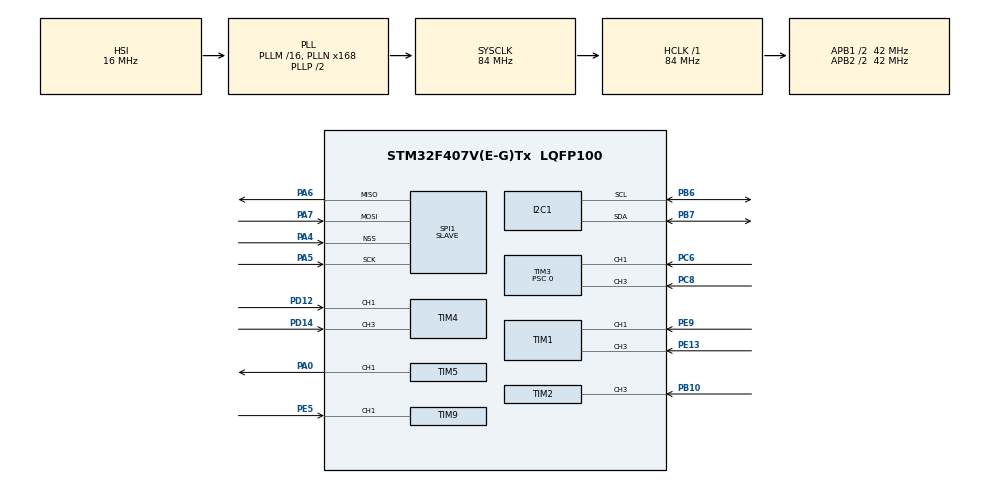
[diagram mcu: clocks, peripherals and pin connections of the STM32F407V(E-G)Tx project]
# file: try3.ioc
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Mcu.Family=STM32F4
Mcu.Name=STM32F407V(E-G)Tx
Mcu.Package=LQFP100
NVIC.PriorityGroup=NVIC_PRIORITYGROUP_4
NVIC.SPI1_IRQn=true\:0\:0\:false\:false\:true\:true\:true\:true
NVIC.TIM1_BRK_TIM9_IRQn=true\:1\:0\:true\:false\:true\:true\:true\:true
NVIC.TIM1_CC_IRQn=true\:0\:0\:false\:false\:true\:true\:true\:true
NVIC.TIM2_IRQn=true\:1\:0\:true\:false\:true\:true\:true\:true
NVIC.TIM3_IRQn=true\:1\:0\:true\:false\:true\:true\:true\:true
NVIC.TIM4_IRQn=true\:1\:0\:true\:false\:true\:true\:true\:true
PA0-WKUP.Signal=S_TIM5_CH1
PA13.Mode=Serial_Wire
PA13.Signal=SYS_JTMS-SWDIO
PA14.Mode=Serial_Wire
PA14.Signal=SYS_JTCK-SWCLK
PA4.Mode=NSS_Signal_Hard_Input
PA4.Signal=SPI1_NSS
PA5.Mode=Full_Duplex_Slave
PA5.Signal=SPI1_SCK
PA6.Mode=Full_Duplex_Slave
PA6.Signal=SPI1_MISO
PA7.Mode=Full_Duplex_Slave
PA7.Signal=SPI1_MOSI
PB10.Signal=S_TIM2_CH3
PB6.Mode=I2C
PB6.Signal=I2C1_SCL
PB7.Mode=I2C
PB7.Signal=I2C1_SDA
PC6.Signal=S_TIM3_CH1
PC8.Signal=S_TIM3_CH3
PD12.Signal=S_TIM4_CH1
PD14.Signal=S_TIM4_CH3
PE13.Signal=S_TIM1_CH3
PE5.Signal=S_TIM9_CH1
PE9.Signal=S_TIM1_CH1
ProjectManager.HeapSize=0x200
ProjectManager.StackSize=0x400
ProjectManager.TargetToolchain=STM32CubeIDE
RCC.48MHZClocksFreq_Value=42000000
RCC.AHBFreq_Value=84000000
RCC.APB1CLKDivider=RCC_HCLK_DIV2
RCC.APB1Freq_Value=42000000
RCC.APB1TimFreq_Value=84000000
RCC.APB2CLKDivider=RCC_HCLK_DIV2
RCC.APB2Freq_Value=42000000
RCC.APB2TimFreq_Value=84000000
RCC.CortexFreq_Value=84000000
RCC.HCLKFreq_Value=84000000
RCC.HSE_VALUE=25000000
RCC.HSI_VALUE=16000000
RCC.LSE_VALUE=32768
RCC.PLLN=168
RCC.SYSCLKFreq_VALUE=84000000
RCC.SYSCLKSource=RCC_SYSCLKSOURCE_PLLCLK
RCC.VCOOutputFreq_Value=168000000
SH.S_TIM1_CH1.0=TIM1_CH1,Input_Capture1_from_TI1
SH.S_TIM1_CH3.0=TIM1_CH3,Input_Capture3_from_TI3
SH.S_TIM2_CH3.0=TIM2_CH3,Input_Capture3_from_TI3
SH.S_TIM3_CH1.0=TIM3_CH1,Input_Capture1_from_TI1
SH.S_TIM3_CH3.0=TIM3_CH3,Input_Capture3_from_TI3
SH.S_TIM4_CH1.0=TIM4_CH1,Input_Capture1_from_TI1
SH.S_TIM4_CH3.0=TIM4_CH3,Input_Capture3_from_TI3
SH.S_TIM5_CH1.0=TIM5_CH1,PWM Generation1 CH1
SH.S_TIM9_CH1.0=TIM9_CH1,Input_Capture1_from_TI1
SPI1.CRCCalculation=SPI_CRCCALCULATION_DISABLE
SPI1.Direction=SPI_DIRECTION_2LINES
SPI1.Mode=SPI_MODE_SLAVE
SPI1.VirtualNSS=VM_NSSHARD
SPI1.VirtualType=VM_SLAVE
TIM1.Channel-Input_Capture1_from_TI1=TIM_CHANNEL_1
TIM1.Channel-Input_Capture2_from_TI1_63=TIM_CHANNEL_2
TIM1.Channel-Input_Capture3_from_TI3=TIM_CHANNEL_3
TIM1.Channel-Input_Capture4_from_TI3_63=TIM_CHANNEL_4
TIM1.ICPolarity_CH4=TIM_INPUTCHANNELPOLARITY_FALLING
TIM2.Channel-Input_Capture3_from_TI3=TIM_CHANNEL_3
TIM2.Channel-Input_Capture4_from_TI3_63=TIM_CHANNEL_4
TIM2.ICPolarity_CH4=TIM_INPUTCHANNELPOLARITY_FALLING
TIM2.Period=65535
TIM3.Channel-Input_Capture1_from_TI1=TIM_CHANNEL_1
TIM3.Channel-Input_Capture2_from_TI1_63=TIM_CHANNEL_2
TIM3.Channel-Input_Capture3_from_TI3=TIM_CHANNEL_3
TIM3.Channel-Input_Capture4_from_TI3_63=TIM_CHANNEL_4
TIM3.ICPolarity_CH1=TIM_INPUTCHANNELPOLARITY_RISING
TIM3.ICPolarity_CH2=TIM_INPUTCHANNELPOLARITY_FALLING
TIM3.ICPolarity_CH4=TIM_INPUTCHANNELPOLARITY_FALLING
TIM3.Period=65535
TIM3.Prescaler=0
TIM4.Channel-Input_Capture1_from_TI1=TIM_CHANNEL_1
TIM4.Channel-Input_Capture2_from_TI1_63=TIM_CHANNEL_2
TIM4.Channel-Input_Capture3_from_TI3=TIM_CHANNEL_3
TIM4.Channel-Input_Capture4_from_TI3_63=TIM_CHANNEL_4
TIM4.ICPolarity_CH2=TIM_INPUTCHANNELPOLARITY_FALLING
TIM4.ICPolarity_CH4=TIM_INPUTCHANNELPOLARITY_FALLING
TIM5.Channel-PWM\ Generation1\ CH1=TIM_CHANNEL_1
TIM5.Period=999
TIM5.Prescaler=49
TIM5.Pulse-PWM\ Generation1\ CH1=500
TIM9.Channel-Input_Capture1_from_TI1=TIM_CHANNEL_1
TIM9.Channel-Input_Capture2_from_TI1_63=TIM_CHANNEL_2
TIM9.ICPolarity_CH2=TIM_INPUTCHANNELPOLARITY_FALLING
VP_TIM1_VS_indirect_ch1.Mode=Input_Capture2_from_TI1_63
VP_TIM1_VS_indirect_ch3.Mode=Input_Capture4_from_TI3_63
VP_TIM2_VS_indirect_ch3.Mode=Input_Capture4_from_TI3_63
VP_TIM3_VS_indirect_ch1.Mode=Input_Capture2_from_TI1_63
VP_TIM3_VS_indirect_ch3.Mode=Input_Capture4_from_TI3_63
VP_TIM4_VS_indirect_ch1.Mode=Input_Capture2_from_TI1_63
VP_TIM4_VS_indirect_ch3.Mode=Input_Capture4_from_TI3_63
VP_TIM9_VS_indirect_ch1.Mode=Input_Capture2_from_TI1_63
board=custom

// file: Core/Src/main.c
/* USER CODE BEGIN Header */
/**
  ******************************************************************************
  * @file           : main.c
  * @brief          : Main program body
  ******************************************************************************
  * @attention
  *
  * Copyright (c) 2025 STMicroelectronics.
  * All rights reserved.
  *
  * This software is licensed under terms that can be found in the LICENSE file
  * in the root directory of this software component.
  * If no LICENSE file comes with this software, it is provided AS-IS.
  *
  ******************************************************************************
  */
/* USER CODE END Header */
#include "main.h"

/* USER CODE BEGIN Includes */
#include "i2c_lcd.h"
#include <stdio.h>
#include <stdint.h>
/* USER CODE END Includes */

I2C_HandleTypeDef hi2c1;

SPI_HandleTypeDef hspi1;

TIM_HandleTypeDef htim1;
TIM_HandleTypeDef htim2;
TIM_HandleTypeDef htim3;
TIM_HandleTypeDef htim4;
TIM_HandleTypeDef htim5;
TIM_HandleTypeDef htim9;

/* USER CODE BEGIN PV */
I2C_LCD_HandleTypeDef lcd1;
volatile uint8_t cur_channel = 0;
volatile uint8_t main_channel = 1;
PWM_Meas_Channel_t pwm_channels[NUM_PWM_CHANNELS] = {
		{
				.htim = &htim1,
				.tim_instance = TIM1,
				.ic_channel_rising = TIM_CHANNEL_1,
				.ic_channel_falling = TIM_CHANNEL_2,
				.ic_channel_rising_active = HAL_TIM_ACTIVE_CHANNEL_1,
				.ic_channel_falling_active = HAL_TIM_ACTIVE_CHANNEL_2,
				.overflow_counter = 0,
				.last_rising_edge_ticks = 0,
				.period_total_ticks = 0,
				.duty_cycle_total_ticks = 0,
				.capture_state = 0
		},
		{
				.htim = &htim1,
				.tim_instance = TIM1,
				.ic_channel_rising = TIM_CHANNEL_3,
				.ic_channel_falling = TIM_CHANNEL_4,
				.ic_channel_rising_active = HAL_TIM_ACTIVE_CHANNEL_3,
				.ic_channel_falling_active = HAL_TIM_ACTIVE_CHANNEL_4,
				.overflow_counter = 0,
				.last_rising_edge_ticks = 0,
				.period_total_ticks = 0,
				.duty_cycle_total_ticks = 0,
				.capture_state = 0
		},
		{
				.htim = &htim2,
				.tim_instance = TIM2,
				.ic_channel_rising = TIM_CHANNEL_3,
				.ic_channel_falling = TIM_CHANNEL_4,
				.ic_channel_rising_active = HAL_TIM_ACTIVE_CHANNEL_3,
				.ic_channel_falling_active = HAL_TIM_ACTIVE_CHANNEL_4,
				.overflow_counter = 0,
				.last_rising_edge_ticks = 0,
				.period_total_ticks = 0,
				.duty_cycle_total_ticks = 0,
				.capture_state = 0
		},
		{
				.htim = &htim3,
				.tim_instance = TIM3,
				.ic_channel_rising = TIM_CHANNEL_1,
				.ic_channel_falling = TIM_CHANNEL_2,
				.ic_channel_rising_active = HAL_TIM_ACTIVE_CHANNEL_1,
				.ic_channel_falling_active = HAL_TIM_ACTIVE_CHANNEL_2,
				.overflow_counter = 0,
				.last_rising_edge_ticks = 0,
				.period_total_ticks = 0,
				.duty_cycle_total_ticks = 0,
				.capture_state = 0
		},
		{
				.htim = &htim3,
				.tim_instance = TIM3,
				.ic_channel_rising = TIM_CHANNEL_3,
				.ic_channel_falling = TIM_CHANNEL_4,
				.ic_channel_rising_active = HAL_TIM_ACTIVE_CHANNEL_3,
				.ic_channel_falling_active = HAL_TIM_ACTIVE_CHANNEL_4,
				.overflow_counter = 0,
				.last_rising_edge_ticks = 0,
				.period_total_ticks = 0,
				.duty_cycle_total_ticks = 0,
				.capture_state = 0
		},
		{
				.htim = &htim4,
				.tim_instance = TIM4,
				.ic_channel_rising = TIM_CHANNEL_1,
				.ic_channel_falling = TIM_CHANNEL_2,
				.ic_channel_rising_active = HAL_TIM_ACTIVE_CHANNEL_1,
				.ic_channel_falling_active = HAL_TIM_ACTIVE_CHANNEL_2,
				.overflow_counter = 0,
				.last_rising_edge_ticks = 0,
				.period_total_ticks = 0,
				.duty_cycle_total_ticks = 0,
				.capture_state = 0
		},
		{
				.htim = &htim4,
				.tim_instance = TIM4,
				.ic_channel_rising = TIM_CHANNEL_3,
				.ic_channel_falling = TIM_CHANNEL_4,
				.ic_channel_rising_active = HAL_TIM_ACTIVE_CHANNEL_3,
				.ic_channel_falling_active = HAL_TIM_ACTIVE_CHANNEL_4,
				.overflow_counter = 0,
				.last_rising_edge_ticks = 0,
				.period_total_ticks = 0,
				.duty_cycle_total_ticks = 0,
				.capture_state = 0
		},
		{
				.htim = &htim9,
				.tim_instance = TIM9,
				.ic_channel_rising = TIM_CHANNEL_1,
				.ic_channel_falling = TIM_CHANNEL_2,
				.ic_channel_rising_active = HAL_TIM_ACTIVE_CHANNEL_1,
				.ic_channel_falling_active = HAL_TIM_ACTIVE_CHANNEL_2,
				.overflow_counter = 0,
				.last_rising_edge_ticks = 0,
				.period_total_ticks = 0,
				.duty_cycle_total_ticks = 0,
				.capture_state = 0
		},
};

// SPI
uint8_t slave_all_data[40];
uint8_t slave_rx_buffer[6];
uint8_t slave_tx_buffer[6];
volatile uint8_t spi_transfer_complete = 0;

/* USER CODE END PV */

void SystemClock_Config(void);
static void MX_GPIO_Init(void);
static void MX_TIM3_Init(void);
static void MX_TIM1_Init(void);
static void MX_TIM2_Init(void);
static void MX_TIM4_Init(void);
static void MX_TIM5_Init(void);
static void MX_TIM9_Init(void);
static void MX_I2C1_Init(void);
static void MX_SPI1_Init(void);

/* USER CODE BEGIN 0 */
uint32_t getPeriodSeconds(uint8_t channel_idx) {
    if (channel_idx >= NUM_PWM_CHANNELS) {
        return 0.0f;
    }
    uint64_t all_periods = 0;
    uint8_t count = 0;
    for (int i = 0; i < NUM_PWM_CHANNELS; i++){
    	uint64_t current_period = pwm_channels[channel_idx].period_total_ticks[i];
    	if (current_period != 0){
    		count++;
    		all_periods+=current_period;
    	}
    }
    return (uint32_t) ((float)all_periods / count / TIMER_CLOCK_FREQ_HZ);
}

uint8_t getDutyCyclePercent(uint8_t channel_idx) {
    if (channel_idx >= NUM_PWM_CHANNELS) {
        return 0;
    }
    float all_duty = 0;
	uint8_t count = 0;
	for (int i = 0; i < NUM_PWM_CHANNELS; i++){
		uint64_t current_duty_ticks = pwm_channels[channel_idx].duty_cycle_total_ticks[i];
		uint64_t current_period = pwm_channels[channel_idx].period_total_ticks[i];
		if (current_period != 0 && current_duty_ticks != 0){
			count++;
			all_duty+=(float)current_duty_ticks/current_period;
		}
	}
    return (uint8_t)(all_duty/count * 100.0f);
}

void convert_u32_to_bytes(uint32_t src, uint8_t *dest, uint16_t channel) {
        dest[channel*5 + 1] = (uint8_t)((src >> 24) & 0xFF);
        dest[channel*5 + 2] = (uint8_t)((src >> 16) & 0xFF);
        dest[channel*5 + 3] = (uint8_t)((src >> 8) & 0xFF);
        dest[channel*5 + 4] = (uint8_t)(src & 0xFF);
}

void init_slave_spi_transfer() {
    for (int i = 0; i < 6; i++) slave_tx_buffer[i] = 0x00;
    HAL_SPI_TransmitReceive_IT(&hspi1, slave_tx_buffer, slave_rx_buffer, 6);
}

void prepare_slave_data() {
    for (int i = 0; i < NUM_PWM_CHANNELS; i++) {
        slave_all_data[i * 5] = getDutyCyclePercent(i);
        convert_u32_to_bytes(getPeriodSeconds(i), slave_all_data, i);
    }
}
/* USER CODE END 0 */

int main(void)
{

  /* MCU Configuration--------------------------------------------------------*/

  /* Reset of all peripherals, Initializes the Flash interface and the Systick. */
  HAL_Init();

  /* Configure the system clock */
  SystemClock_Config();

  /* Initialize all configured peripherals */
  MX_GPIO_Init();
  MX_TIM3_Init();
  MX_TIM1_Init();
  MX_TIM2_Init();
  MX_TIM4_Init();
  MX_TIM5_Init();
  MX_TIM9_Init();
  MX_I2C1_Init();
  MX_SPI1_Init();
  /* USER CODE BEGIN 2 */
  HAL_TIM_PWM_Start(&htim5, TIM_CHANNEL_1);
  lcd1.hi2c = &hi2c1;
  lcd1.address = 0x4E;
  lcd_init(&lcd1);
  lcd_clear(&lcd1);

  init_slave_spi_transfer();
  /* USER CODE END 2 */

  /* Infinite loop */
  while (1)
  {

    /* USER CODE BEGIN 3 */
	  prepare_slave_data();

	  if (spi_transfer_complete == 1){
		  spi_transfer_complete = 0;
		  cur_channel = slave_rx_buffer[0] - 1;
		  slave_tx_buffer[0] = slave_rx_buffer[0];

		  if (cur_channel < NUM_PWM_CHANNELS) {
			  for (int i = 0; i < 5; i++)
				  slave_tx_buffer[i + 1] = slave_all_data[cur_channel * 5 + i];
		  } else {
			  for (int i = 0; i < 6; i++) slave_tx_buffer[i] = 0xFF;
		  }
		  HAL_SPI_TransmitReceive_IT(&hspi1, slave_tx_buffer, slave_rx_buffer, 6);
	  }

	  uint8_t currentDuty = getDutyCyclePercent(main_channel);
	  uint32_t currentPeriod = getPeriodSeconds(main_channel);
	  char duty_str[4];
	  char period_str[11];
	  char number_str[5];
	  sprintf(duty_str, "%u", currentDuty);
	  sprintf(number_str, "%u", main_channel+1);
	  sprintf(period_str, "%lu", currentPeriod);
	  lcd_gotoxy(&lcd1, 0, 0);
	  lcd_puts(&lcd1, period_str);
	  lcd_gotoxy(&lcd1, 0, 1);
	  lcd_puts(&lcd1, duty_str);
	  lcd_gotoxy(&lcd1, 14,1);
	  lcd_puts(&lcd1, number_str);
	  HAL_Delay(500);
//	  lcd_clear(&lcd1);
//	  if (main_channel == 7){
//		  main_channel = 0;
//	  } else {
//		  main_channel++;
//	  }

  }
  /* USER CODE END 3 */
}

void SystemClock_Config(void)
{
  RCC_OscInitTypeDef RCC_OscInitStruct = {0};
  RCC_ClkInitTypeDef RCC_ClkInitStruct = {0};

  /** Configure the main internal regulator output voltage
  */
  __HAL_RCC_PWR_CLK_ENABLE();
  __HAL_PWR_VOLTAGESCALING_CONFIG(PWR_REGULATOR_VOLTAGE_SCALE1);

  /** Initializes the RCC Oscillators according to the specified parameters
  * in the RCC_OscInitTypeDef structure.
  */
  RCC_OscInitStruct.OscillatorType = RCC_OSCILLATORTYPE_HSI;
  RCC_OscInitStruct.HSIState = RCC_HSI_ON;
  RCC_OscInitStruct.HSICalibrationValue = RCC_HSICALIBRATION_DEFAULT;
  RCC_OscInitStruct.PLL.PLLState = RCC_PLL_ON;
  RCC_OscInitStruct.PLL.PLLSource = RCC_PLLSOURCE_HSI;
  RCC_OscInitStruct.PLL.PLLM = 16;
  RCC_OscInitStruct.PLL.PLLN = 168;
  RCC_OscInitStruct.PLL.PLLP = RCC_PLLP_DIV2;
  RCC_OscInitStruct.PLL.PLLQ = 4;
  if (HAL_RCC_OscConfig(&RCC_OscInitStruct) != HAL_OK)
  {
    Error_Handler();
  }

  /** Initializes the CPU, AHB and APB buses clocks
  */
  RCC_ClkInitStruct.ClockType = RCC_CLOCKTYPE_HCLK|RCC_CLOCKTYPE_SYSCLK
                              |RCC_CLOCKTYPE_PCLK1|RCC_CLOCKTYPE_PCLK2;
  RCC_ClkInitStruct.SYSCLKSource = RCC_SYSCLKSOURCE_PLLCLK;
  RCC_ClkInitStruct.AHBCLKDivider = RCC_SYSCLK_DIV1;
  RCC_ClkInitStruct.APB1CLKDivider = RCC_HCLK_DIV2;
  RCC_ClkInitStruct.APB2CLKDivider = RCC_HCLK_DIV2;

  if (HAL_RCC_ClockConfig(&RCC_ClkInitStruct, FLASH_LATENCY_2) != HAL_OK)
  {
    Error_Handler();
  }
}

static void MX_I2C1_Init(void)
{

  hi2c1.Instance = I2C1;
  hi2c1.Init.ClockSpeed = 100000;
  hi2c1.Init.DutyCycle = I2C_DUTYCYCLE_2;
  hi2c1.Init.OwnAddress1 = 0;
  hi2c1.Init.AddressingMode = I2C_ADDRESSINGMODE_7BIT;
  hi2c1.Init.DualAddressMode = I2C_DUALADDRESS_DISABLE;
  hi2c1.Init.OwnAddress2 = 0;
  hi2c1.Init.GeneralCallMode = I2C_GENERALCALL_DISABLE;
  hi2c1.Init.NoStretchMode = I2C_NOSTRETCH_DISABLE;
  if (HAL_I2C_Init(&hi2c1) != HAL_OK)
  {
    Error_Handler();
  }

}

static void MX_SPI1_Init(void)
{

  /* SPI1 parameter configuration*/
  hspi1.Instance = SPI1;
  hspi1.Init.Mode = SPI_MODE_SLAVE;
  hspi1.Init.Direction = SPI_DIRECTION_2LINES;
  hspi1.Init.DataSize = SPI_DATASIZE_8BIT;
  hspi1.Init.CLKPolarity = SPI_POLARITY_LOW;
  hspi1.Init.CLKPhase = SPI_PHASE_1EDGE;
  hspi1.Init.NSS = SPI_NSS_HARD_INPUT;
  hspi1.Init.FirstBit = SPI_FIRSTBIT_MSB;
  hspi1.Init.TIMode = SPI_TIMODE_DISABLE;
  hspi1.Init.CRCCalculation = SPI_CRCCALCULATION_DISABLE;
  hspi1.Init.CRCPolynomial = 10;
  if (HAL_SPI_Init(&hspi1) != HAL_OK)
  {
    Error_Handler();
  }

}

static void MX_TIM1_Init(void)
{

  TIM_MasterConfigTypeDef sMasterConfig = {0};
  TIM_IC_InitTypeDef sConfigIC = {0};

  htim1.Instance = TIM1;
  htim1.Init.Prescaler = 0;
  htim1.Init.CounterMode = TIM_COUNTERMODE_UP;
  htim1.Init.Period = 65535;
  htim1.Init.ClockDivision = TIM_CLOCKDIVISION_DIV1;
  htim1.Init.RepetitionCounter = 0;
  htim1.Init.AutoReloadPreload = TIM_AUTORELOAD_PRELOAD_DISABLE;
  if (HAL_TIM_IC_Init(&htim1) != HAL_OK)
  {
    Error_Handler();
  }
  sMasterConfig.MasterOutputTrigger = TIM_TRGO_RESET;
  sMasterConfig.MasterSlaveMode = TIM_MASTERSLAVEMODE_DISABLE;
  if (HAL_TIMEx_MasterConfigSynchronization(&htim1, &sMasterConfig) != HAL_OK)
  {
    Error_Handler();
  }
  sConfigIC.ICPolarity = TIM_INPUTCHANNELPOLARITY_RISING;
  sConfigIC.ICSelection = TIM_ICSELECTION_DIRECTTI;
  sConfigIC.ICPrescaler = TIM_ICPSC_DIV1;
  sConfigIC.ICFilter = 0;
  if (HAL_TIM_IC_ConfigChannel(&htim1, &sConfigIC, TIM_CHANNEL_1) != HAL_OK)
  {
    Error_Handler();
  }
  sConfigIC.ICSelection = TIM_ICSELECTION_INDIRECTTI;
  if (HAL_TIM_IC_ConfigChannel(&htim1, &sConfigIC, TIM_CHANNEL_2) != HAL_OK)
  {
    Error_Handler();
  }
  sConfigIC.ICSelection = TIM_ICSELECTION_DIRECTTI;
  if (HAL_TIM_IC_ConfigChannel(&htim1, &sConfigIC, TIM_CHANNEL_3) != HAL_OK)
  {
    Error_Handler();
  }
  sConfigIC.ICPolarity = TIM_INPUTCHANNELPOLARITY_FALLING;
  sConfigIC.ICSelection = TIM_ICSELECTION_INDIRECTTI;
  if (HAL_TIM_IC_ConfigChannel(&htim1, &sConfigIC, TIM_CHANNEL_4) != HAL_OK)
  {
    Error_Handler();
  }
  /* USER CODE BEGIN TIM1_Init 2 */
  if (HAL_TIM_IC_Start_IT(&htim1, TIM_CHANNEL_1) != HAL_OK)
  {
	  Error_Handler();
  }

  if (HAL_TIM_IC_Start_IT(&htim1, TIM_CHANNEL_2) != HAL_OK)
  {
	  Error_Handler();
  }
  if (HAL_TIM_IC_Start_IT(&htim1, TIM_CHANNEL_3) != HAL_OK)
  {
	  Error_Handler();
  }
  if (HAL_TIM_IC_Start_IT(&htim1, TIM_CHANNEL_4) != HAL_OK)
  {
	  Error_Handler();
  }
  if (HAL_TIM_Base_Start_IT(&htim1) != HAL_OK)
  {
	  Error_Handler();
  }
  /* USER CODE END TIM1_Init 2 */

}

static void MX_TIM2_Init(void)
{

  TIM_MasterConfigTypeDef sMasterConfig = {0};
  TIM_IC_InitTypeDef sConfigIC = {0};

  htim2.Instance = TIM2;
  htim2.Init.Prescaler = 0;
  htim2.Init.CounterMode = TIM_COUNTERMODE_UP;
  htim2.Init.Period = 65535;
  htim2.Init.ClockDivision = TIM_CLOCKDIVISION_DIV1;
  htim2.Init.AutoReloadPreload = TIM_AUTORELOAD_PRELOAD_DISABLE;
  if (HAL_TIM_IC_Init(&htim2) != HAL_OK)
  {
    Error_Handler();
  }
  sMasterConfig.MasterOutputTrigger = TIM_TRGO_RESET;
  sMasterConfig.MasterSlaveMode = TIM_MASTERSLAVEMODE_DISABLE;
  if (HAL_TIMEx_MasterConfigSynchronization(&htim2, &sMasterConfig) != HAL_OK)
  {
    Error_Handler();
  }
  sConfigIC.ICPolarity = TIM_INPUTCHANNELPOLARITY_RISING;
  sConfigIC.ICSelection = TIM_ICSELECTION_DIRECTTI;
  sConfigIC.ICPrescaler = TIM_ICPSC_DIV1;
  sConfigIC.ICFilter = 0;
  if (HAL_TIM_IC_ConfigChannel(&htim2, &sConfigIC, TIM_CHANNEL_3) != HAL_OK)
  {
    Error_Handler();
  }
  sConfigIC.ICPolarity = TIM_INPUTCHANNELPOLARITY_FALLING;
  sConfigIC.ICSelection = TIM_ICSELECTION_INDIRECTTI;
  if (HAL_TIM_IC_ConfigChannel(&htim2, &sConfigIC, TIM_CHANNEL_4) != HAL_OK)
  {
    Error_Handler();
  }
  /* USER CODE BEGIN TIM2_Init 2 */
  if (HAL_TIM_IC_Start_IT(&htim2, TIM_CHANNEL_3) != HAL_OK)
  {
	  Error_Handler();
  }
  if (HAL_TIM_IC_Start_IT(&htim2, TIM_CHANNEL_4) != HAL_OK)
  {
	  Error_Handler();
  }
  if (HAL_TIM_Base_Start_IT(&htim2) != HAL_OK)
  {
	  Error_Handler();
  }
  /* USER CODE END TIM2_Init 2 */

}

static void MX_TIM3_Init(void)
{

  TIM_MasterConfigTypeDef sMasterConfig = {0};
  TIM_IC_InitTypeDef sConfigIC = {0};

  htim3.Instance = TIM3;
  htim3.Init.Prescaler = 0;
  htim3.Init.CounterMode = TIM_COUNTERMODE_UP;
  htim3.Init.Period = 65535;
  htim3.Init.ClockDivision = TIM_CLOCKDIVISION_DIV1;
  htim3.Init.AutoReloadPreload = TIM_AUTORELOAD_PRELOAD_DISABLE;
  if (HAL_TIM_IC_Init(&htim3) != HAL_OK)
  {
    Error_Handler();
  }
  sMasterConfig.MasterOutputTrigger = TIM_TRGO_RESET;
  sMasterConfig.MasterSlaveMode = TIM_MASTERSLAVEMODE_DISABLE;
  if (HAL_TIMEx_MasterConfigSynchronization(&htim3, &sMasterConfig) != HAL_OK)
  {
    Error_Handler();
  }
  sConfigIC.ICPolarity = TIM_INPUTCHANNELPOLARITY_RISING;
  sConfigIC.ICSelection = TIM_ICSELECTION_DIRECTTI;
  sConfigIC.ICPrescaler = TIM_ICPSC_DIV1;
  sConfigIC.ICFilter = 0;
  if (HAL_TIM_IC_ConfigChannel(&htim3, &sConfigIC, TIM_CHANNEL_1) != HAL_OK)
  {
    Error_Handler();
  }
  sConfigIC.ICPolarity = TIM_INPUTCHANNELPOLARITY_FALLING;
  sConfigIC.ICSelection = TIM_ICSELECTION_INDIRECTTI;
  if (HAL_TIM_IC_ConfigChannel(&htim3, &sConfigIC, TIM_CHANNEL_2) != HAL_OK)
  {
    Error_Handler();
  }
  sConfigIC.ICPolarity = TIM_INPUTCHANNELPOLARITY_RISING;
  sConfigIC.ICSelection = TIM_ICSELECTION_DIRECTTI;
  if (HAL_TIM_IC_ConfigChannel(&htim3, &sConfigIC, TIM_CHANNEL_3) != HAL_OK)
  {
    Error_Handler();
  }
  sConfigIC.ICPolarity = TIM_INPUTCHANNELPOLARITY_FALLING;
  sConfigIC.ICSelection = TIM_ICSELECTION_INDIRECTTI;
  if (HAL_TIM_IC_ConfigChannel(&htim3, &sConfigIC, TIM_CHANNEL_4) != HAL_OK)
  {
    Error_Handler();
  }
  /* USER CODE BEGIN TIM3_Init 2 */
  if (HAL_TIM_IC_Start_IT(&htim3, TIM_CHANNEL_1) != HAL_OK)
  {
	  Error_Handler();
  }

  if (HAL_TIM_IC_Start_IT(&htim3, TIM_CHANNEL_2) != HAL_OK)
  {
	  Error_Handler();
  }
  if (HAL_TIM_IC_Start_IT(&htim3, TIM_CHANNEL_3) != HAL_OK)
  {
	  Error_Handler();
  }
  if (HAL_TIM_IC_Start_IT(&htim3, TIM_CHANNEL_4) != HAL_OK)
  {
	  Error_Handler();
  }
  if (HAL_TIM_Base_Start_IT(&htim3) != HAL_OK)
  {
	  Error_Handler();
  }
  /* USER CODE END TIM3_Init 2 */

}

static void MX_TIM4_Init(void)
{

  TIM_MasterConfigTypeDef sMasterConfig = {0};
  TIM_IC_InitTypeDef sConfigIC = {0};

  htim4.Instance = TIM4;
  htim4.Init.Prescaler = 0;
  htim4.Init.CounterMode = TIM_COUNTERMODE_UP;
  htim4.Init.Period = 65535;
  htim4.Init.ClockDivision = TIM_CLOCKDIVISION_DIV1;
  htim4.Init.AutoReloadPreload = TIM_AUTORELOAD_PRELOAD_DISABLE;
  if (HAL_TIM_IC_Init(&htim4) != HAL_OK)
  {
    Error_Handler();
  }
  sMasterConfig.MasterOutputTrigger = TIM_TRGO_RESET;
  sMasterConfig.MasterSlaveMode = TIM_MASTERSLAVEMODE_DISABLE;
  if (HAL_TIMEx_MasterConfigSynchronization(&htim4, &sMasterConfig) != HAL_OK)
  {
    Error_Handler();
  }
  sConfigIC.ICPolarity = TIM_INPUTCHANNELPOLARITY_RISING;
  sConfigIC.ICSelection = TIM_ICSELECTION_DIRECTTI;
  sConfigIC.ICPrescaler = TIM_ICPSC_DIV1;
  sConfigIC.ICFilter = 0;
  if (HAL_TIM_IC_ConfigChannel(&htim4, &sConfigIC, TIM_CHANNEL_1) != HAL_OK)
  {
    Error_Handler();
  }
  sConfigIC.ICPolarity = TIM_INPUTCHANNELPOLARITY_FALLING;
  sConfigIC.ICSelection = TIM_ICSELECTION_INDIRECTTI;
  if (HAL_TIM_IC_ConfigChannel(&htim4, &sConfigIC, TIM_CHANNEL_2) != HAL_OK)
  {
    Error_Handler();
  }
  sConfigIC.ICPolarity = TIM_INPUTCHANNELPOLARITY_RISING;
  sConfigIC.ICSelection = TIM_ICSELECTION_DIRECTTI;
  if (HAL_TIM_IC_ConfigChannel(&htim4, &sConfigIC, TIM_CHANNEL_3) != HAL_OK)
  {
    Error_Handler();
  }
  sConfigIC.ICPolarity = TIM_INPUTCHANNELPOLARITY_FALLING;
  sConfigIC.ICSelection = TIM_ICSELECTION_INDIRECTTI;
  if (HAL_TIM_IC_ConfigChannel(&htim4, &sConfigIC, TIM_CHANNEL_4) != HAL_OK)
  {
    Error_Handler();
  }
  /* USER CODE BEGIN TIM4_Init 2 */
  if (HAL_TIM_IC_Start_IT(&htim4, TIM_CHANNEL_1) != HAL_OK)
  {
	  Error_Handler();
  }

  if (HAL_TIM_IC_Start_IT(&htim4, TIM_CHANNEL_2) != HAL_OK)
  {
	  Error_Handler();
  }
  if (HAL_TIM_IC_Start_IT(&htim4, TIM_CHANNEL_3) != HAL_OK)
  {
	  Error_Handler();
  }
  if (HAL_TIM_IC_Start_IT(&htim4, TIM_CHANNEL_4) != HAL_OK)
  {
	  Error_Handler();
  }
  if (HAL_TIM_Base_Start_IT(&htim4) != HAL_OK)
  {
	  Error_Handler();
  }
  /* USER CODE END TIM4_Init 2 */

}

static void MX_TIM5_Init(void)
{

  TIM_MasterConfigTypeDef sMasterConfig = {0};
  TIM_OC_InitTypeDef sConfigOC = {0};

  htim5.Instance = TIM5;
  htim5.Init.Prescaler = 49;
  htim5.Init.CounterMode = TIM_COUNTERMODE_UP;
  htim5.Init.Period = 999;
  htim5.Init.ClockDivision = TIM_CLOCKDIVISION_DIV1;
  htim5.Init.AutoReloadPreload = TIM_AUTORELOAD_PRELOAD_DISABLE;
  if (HAL_TIM_PWM_Init(&htim5) != HAL_OK)
  {
    Error_Handler();
  }
  sMasterConfig.MasterOutputTrigger = TIM_TRGO_RESET;
  sMasterConfig.MasterSlaveMode = TIM_MASTERSLAVEMODE_DISABLE;
  if (HAL_TIMEx_MasterConfigSynchronization(&htim5, &sMasterConfig) != HAL_OK)
  {
    Error_Handler();
  }
  sConfigOC.OCMode = TIM_OCMODE_PWM1;
  sConfigOC.Pulse = 500;
  sConfigOC.OCPolarity = TIM_OCPOLARITY_HIGH;
  sConfigOC.OCFastMode = TIM_OCFAST_DISABLE;
  if (HAL_TIM_PWM_ConfigChannel(&htim5, &sConfigOC, TIM_CHANNEL_1) != HAL_OK)
  {
    Error_Handler();
  }
  HAL_TIM_MspPostInit(&htim5);

}

static void MX_TIM9_Init(void)
{

  TIM_IC_InitTypeDef sConfigIC = {0};

  htim9.Instance = TIM9;
  htim9.Init.Prescaler = 0;
  htim9.Init.CounterMode = TIM_COUNTERMODE_UP;
  htim9.Init.Period = 65535;
  htim9.Init.ClockDivision = TIM_CLOCKDIVISION_DIV1;
  htim9.Init.AutoReloadPreload = TIM_AUTORELOAD_PRELOAD_DISABLE;
  if (HAL_TIM_IC_Init(&htim9) != HAL_OK)
  {
    Error_Handler();
  }
  sConfigIC.ICPolarity = TIM_INPUTCHANNELPOLARITY_RISING;
  sConfigIC.ICSelection = TIM_ICSELECTION_DIRECTTI;
  sConfigIC.ICPrescaler = TIM_ICPSC_DIV1;
  sConfigIC.ICFilter = 0;
  if (HAL_TIM_IC_ConfigChannel(&htim9, &sConfigIC, TIM_CHANNEL_1) != HAL_OK)
  {
    Error_Handler();
  }
  sConfigIC.ICPolarity = TIM_INPUTCHANNELPOLARITY_FALLING;
  sConfigIC.ICSelection = TIM_ICSELECTION_INDIRECTTI;
  if (HAL_TIM_IC_ConfigChannel(&htim9, &sConfigIC, TIM_CHANNEL_2) != HAL_OK)
  {
    Error_Handler();
  }
  /* USER CODE BEGIN TIM9_Init 2 */
  if (HAL_TIM_IC_Start_IT(&htim9, TIM_CHANNEL_1) != HAL_OK)
  {
	  Error_Handler();
  }

  if (HAL_TIM_IC_Start_IT(&htim9, TIM_CHANNEL_2) != HAL_OK)
  {
	  Error_Handler();
  }
  if (HAL_TIM_Base_Start_IT(&htim9) != HAL_OK)
  {
	  Error_Handler();
  }

  /* USER CODE END TIM9_Init 2 */

}

static void MX_GPIO_Init(void)
{

  /* GPIO Ports Clock Enable */
  __HAL_RCC_GPIOE_CLK_ENABLE();
  __HAL_RCC_GPIOA_CLK_ENABLE();
  __HAL_RCC_GPIOB_CLK_ENABLE();
  __HAL_RCC_GPIOD_CLK_ENABLE();
  __HAL_RCC_GPIOC_CLK_ENABLE();

  /* USER CODE BEGIN MX_GPIO_Init_2 */
//
//	  GPIO_InitStruct.Pin = GPIO_PIN_6;
//	  GPIO_InitStruct.Mode = GPIO_MODE_AF_PP;
//	  GPIO_InitStruct.Pull = GPIO_NOPULL;
//	  GPIO_InitStruct.Speed = GPIO_SPEED_FREQ_HIGH;
//	  GPIO_InitStruct.Alternate = GPIO_AF2_TIM3;
//	  HAL_GPIO_Init(GPIOA, &GPIO_InitStruct);
  /* USER CODE END MX_GPIO_Init_2 */
}

void Error_Handler(void)
{
  /* USER CODE BEGIN Error_Handler_Debug */
  /* User can add his own implementation to report the HAL error return state */
  __disable_irq();
  while (1)
	  lcd_puts(&lcd1, "error");
  {
  }
  /* USER CODE END Error_Handler_Debug */
}
